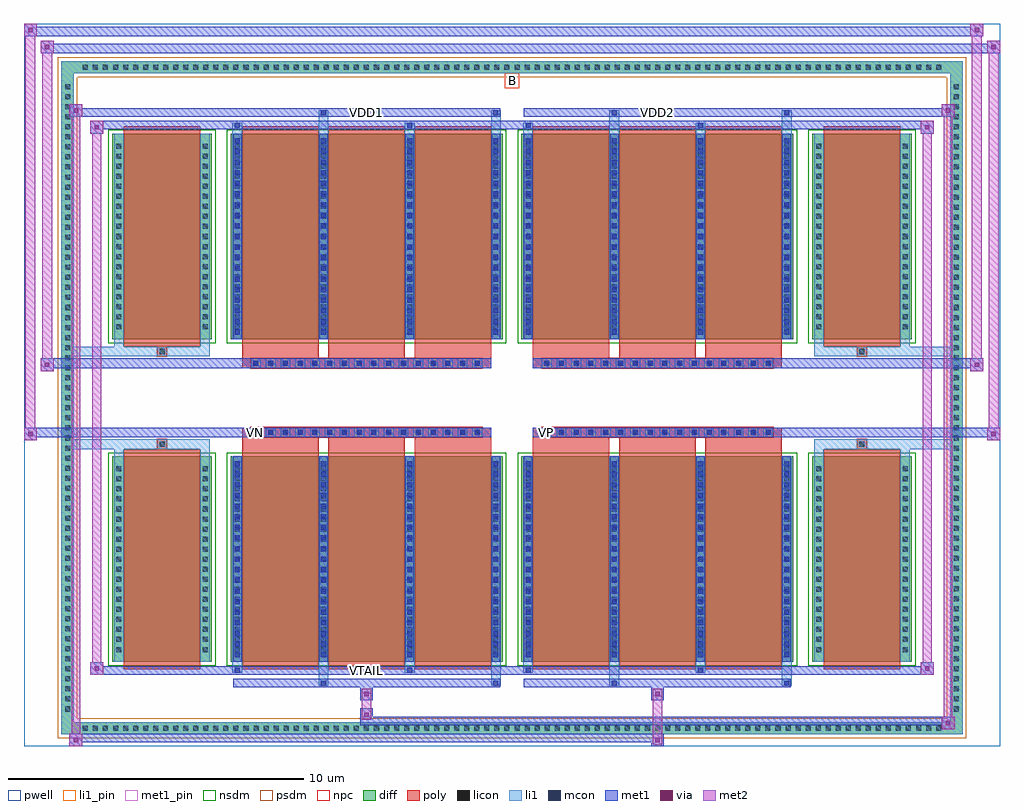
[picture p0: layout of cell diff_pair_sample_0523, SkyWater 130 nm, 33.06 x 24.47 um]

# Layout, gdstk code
import gdstk
lib = gdstk.Library(unit=1e-6, precision=5e-09)
def R(c, l, rs):  # rectangles x0, y0, x1, y1
    for r in rs: c.add(gdstk.rectangle(r[:2], r[2:], *l))
def A(c, l, x, y, w, h, nx, ny, dx, dy):  # array of equal rectangles
    R(c, l, [(x+i*dx, y+j*dy, x+i*dx+w, y+j*dy+h) for i in range(nx) for j in range(ny)])
def P(c, l, *ps):  # polygons
    for p in ps: c.add(gdstk.Polygon(p, *l))
pwell = (64, 44)
diff = (65, 20)
poly = (66, 20)
licon = (66, 44)
li1_pin = (67, 16)
li1 = (67, 20)
mcon = (67, 44)
met1_pin = (68, 16)
met1 = (68, 20)
via = (68, 44)
met2 = (69, 20)
nsdm = (93, 44)
psdm = (94, 20)
npc = (95, 20)

diff_pair_sample_0523 = lib.new_cell('diff_pair_sample_0523')
R(diff_pair_sample_0523, pwell, [(-16.53,-11.8,16.53,12.67), (-13.85,-9.99,-0.01,-0.805), (0.01,-9.99,13.85,-0.805), (-13.85,0.805,-0.01,9.99), (0.01,0.805,13.85,9.99)])
A(diff_pair_sample_0523, diff, -14.655, -11.4, 0.41, 0.41, 86, 2, 0.34, 22.39)
A(diff_pair_sample_0523, diff, -15.26, -10.745, 0.41, 0.41, 1, 63, 0, 0.34)
A(diff_pair_sample_0523, diff, 14.85, -10.745, 0.41, 0.41, 1, 63, 0, 0.34)
R(diff_pair_sample_0523, diff, [(-14.655,-11.4,14.655,-10.99), (-15.26,-10.745,-14.85,10.745), (14.85,-10.745,15.26,10.745), (-13.54,-8.945,-10.17,-1.985), (-9.53,-8.945,-0.32,-1.985), (0.32,-8.945,9.53,-1.985), (10.17,-8.945,13.54,-1.985), (-13.54,1.985,-10.17,8.945), (-9.53,1.985,-0.32,8.945), (0.32,1.985,9.53,8.945), (10.17,1.985,13.54,8.945), (-14.655,10.99,14.655,11.4)])
P(diff_pair_sample_0523, diff, [(15.26,11.4),(-15.26,11.4),(-15.26,-10.99),(-14.85,-10.99),(-14.85,10.99),(14.85,10.99),(14.85,-10.99),(-14.85,-10.99),(-15.26,-10.99),(-15.26,-11.4),(15.26,-11.4)])
A(diff_pair_sample_0523, poly, -9.14, -9.195, 2.59, 7.46, 3, 2, 2.92, 10.93)
A(diff_pair_sample_0523, poly, 0.71, -9.195, 2.59, 7.46, 3, 2, 2.92, 10.93)
A(diff_pair_sample_0523, poly, -9.14, -1.735, 2.59, 0.4, 3, 2, 2.92, 3.07)
A(diff_pair_sample_0523, poly, 0.71, -1.735, 2.59, 0.4, 3, 2, 2.92, 3.07)
A(diff_pair_sample_0523, poly, -8.84, -1.335, 0.33, 0.33, 16, 2, 0.5, 2.34)
A(diff_pair_sample_0523, poly, 1.01, -1.335, 0.33, 0.33, 16, 2, 0.5, 2.34)
R(diff_pair_sample_0523, poly, [(-13.15,-9.195,-10.56,-1.735), (10.56,-9.195,13.15,-1.735), (-12.02,-1.735,-11.69,-1.405), (-12.02,-1.735,-11.69,-1.405), (11.69,-1.735,12.02,-1.405), (11.69,-1.735,12.02,-1.405), (-9.14,-1.335,-0.71,-1.005), (0.71,-1.335,9.14,-1.005), (-9.14,1.005,-0.71,1.335), (0.71,1.005,9.14,1.335), (-12.02,1.405,-11.69,1.735), (-12.02,1.405,-11.69,1.735), (11.69,1.405,12.02,1.735), (11.69,1.405,12.02,1.735), (-13.15,1.735,-10.56,9.195), (10.56,1.735,13.15,9.195)])
A(diff_pair_sample_0523, licon, -14.535, -11.28, 0.17, 0.17, 86, 2, 0.34, 22.39)
A(diff_pair_sample_0523, licon, -15.14, -10.625, 0.17, 0.17, 1, 63, 0, 0.34)
A(diff_pair_sample_0523, licon, 14.97, -10.625, 0.17, 0.17, 1, 63, 0, 0.34)
A(diff_pair_sample_0523, licon, -13.4, -8.61, 0.17, 0.17, 1, 19, 0, 0.34)
A(diff_pair_sample_0523, licon, -10.48, -8.61, 0.17, 0.17, 1, 19, 0, 0.34)
A(diff_pair_sample_0523, licon, -9.39, -8.61, 0.17, 0.17, 4, 19, 2.92, 0.34)
A(diff_pair_sample_0523, licon, 0.46, -8.61, 0.17, 0.17, 4, 19, 2.92, 0.34)
A(diff_pair_sample_0523, licon, 10.31, -8.61, 0.17, 0.17, 1, 19, 0, 0.34)
A(diff_pair_sample_0523, licon, 13.23, -8.61, 0.17, 0.17, 1, 19, 0, 0.34)
A(diff_pair_sample_0523, licon, -8.76, -1.255, 0.17, 0.17, 16, 2, 0.5, 2.34)
A(diff_pair_sample_0523, licon, 1.09, -1.255, 0.17, 0.17, 16, 2, 0.5, 2.34)
A(diff_pair_sample_0523, licon, -13.4, 2.32, 0.17, 0.17, 1, 19, 0, 0.34)
A(diff_pair_sample_0523, licon, -10.48, 2.32, 0.17, 0.17, 1, 19, 0, 0.34)
A(diff_pair_sample_0523, licon, -9.39, 2.32, 0.17, 0.17, 4, 19, 2.92, 0.34)
A(diff_pair_sample_0523, licon, 0.46, 2.32, 0.17, 0.17, 4, 19, 2.92, 0.34)
A(diff_pair_sample_0523, licon, 10.31, 2.32, 0.17, 0.17, 1, 19, 0, 0.34)
A(diff_pair_sample_0523, licon, 13.23, 2.32, 0.17, 0.17, 1, 19, 0, 0.34)
R(diff_pair_sample_0523, licon, [(-11.94,-1.655,-11.77,-1.485), (11.77,-1.655,11.94,-1.485), (-11.94,1.485,-11.77,1.655), (11.77,1.485,11.94,1.655)])
R(diff_pair_sample_0523, li1_pin, [(-0.25,10.49,0.25,10.99)])
A(diff_pair_sample_0523, li1, -14.615, -11.36, 0.33, 0.33, 86, 2, 0.34, 22.39)
A(diff_pair_sample_0523, li1, -15.22, -10.705, 0.33, 0.33, 1, 63, 0, 0.34)
A(diff_pair_sample_0523, li1, 14.89, -10.705, 0.33, 0.33, 1, 63, 0, 0.34)
A(diff_pair_sample_0523, li1, -9.47, -8.945, 0.33, 6.96, 4, 2, 2.92, 10.93)
A(diff_pair_sample_0523, li1, 0.38, -8.945, 0.33, 6.96, 4, 2, 2.92, 10.93)
A(diff_pair_sample_0523, li1, -9.39, -8.79, 0.17, 0.17, 4, 19, 2.92, 0.36)
A(diff_pair_sample_0523, li1, -9.39, -8.79, 0.17, 6.65, 4, 2, 2.92, 10.93)
A(diff_pair_sample_0523, li1, 0.46, -8.79, 0.17, 0.17, 4, 19, 2.92, 0.36)
A(diff_pair_sample_0523, li1, 0.46, -8.79, 0.17, 6.65, 4, 2, 2.92, 10.93)
A(diff_pair_sample_0523, li1, -13.48, -8.69, 0.33, 0.33, 1, 19, 0, 0.34)
A(diff_pair_sample_0523, li1, -10.56, -8.69, 0.33, 0.33, 1, 19, 0, 0.34)
A(diff_pair_sample_0523, li1, -9.47, -8.69, 0.33, 0.33, 4, 19, 2.92, 0.34)
A(diff_pair_sample_0523, li1, 0.38, -8.69, 0.33, 0.33, 4, 19, 2.92, 0.34)
A(diff_pair_sample_0523, li1, 10.23, -8.69, 0.33, 0.33, 1, 19, 0, 0.34)
A(diff_pair_sample_0523, li1, 13.15, -8.69, 0.33, 0.33, 1, 19, 0, 0.34)
A(diff_pair_sample_0523, li1, -8.84, -1.335, 0.33, 0.33, 16, 2, 0.5, 2.34)
A(diff_pair_sample_0523, li1, 1.01, -1.335, 0.33, 0.33, 16, 2, 0.5, 2.34)
A(diff_pair_sample_0523, li1, -9.39, 2.14, 0.17, 0.17, 4, 19, 2.92, 0.36)
A(diff_pair_sample_0523, li1, 0.46, 2.14, 0.17, 0.17, 4, 19, 2.92, 0.36)
A(diff_pair_sample_0523, li1, -13.48, 2.24, 0.33, 0.33, 1, 19, 0, 0.34)
A(diff_pair_sample_0523, li1, -10.56, 2.24, 0.33, 0.33, 1, 19, 0, 0.34)
A(diff_pair_sample_0523, li1, -9.47, 2.24, 0.33, 0.33, 4, 19, 2.92, 0.34)
A(diff_pair_sample_0523, li1, 0.38, 2.24, 0.33, 0.33, 4, 19, 2.92, 0.34)
A(diff_pair_sample_0523, li1, 10.23, 2.24, 0.33, 0.33, 1, 19, 0, 0.34)
A(diff_pair_sample_0523, li1, 13.15, 2.24, 0.33, 0.33, 1, 19, 0, 0.34)
R(diff_pair_sample_0523, li1, [(-15.26,-11.4,-14.85,-10.99), (-15.26,-11.4,-14.85,-10.99), (-14.85,-11.4,14.85,-10.99), (14.85,-11.4,15.26,-10.99), (14.85,-11.4,15.26,-10.99), (-15.26,-10.99,-14.85,10.99), (14.85,-10.99,15.26,10.99), (-6.55,-9.75,-6.22,-8.945), (-6.47,-9.75,-6.3,-9.58), (-0.71,-9.75,-0.38,-8.945), (-0.63,-9.75,-0.46,-9.58), (3.3,-9.75,3.63,-8.945), (3.38,-9.75,3.55,-9.58), (9.14,-9.75,9.47,-8.945), (9.22,-9.75,9.39,-9.58), (-9.47,-9.32,-9.14,-8.945), (-9.39,-9.32,-9.22,-9.15), (-3.63,-9.32,-3.3,-8.945), (-3.55,-9.32,-3.38,-9.15), (0.38,-9.32,0.71,-8.945), (0.46,-9.32,0.63,-9.15), (6.22,-9.32,6.55,-8.945), (6.3,-9.32,6.47,-9.15), (-13.48,-8.945,-13.15,-1.985), (-10.56,-8.945,-10.23,-1.985), (10.23,-8.945,10.56,-1.985), (13.15,-8.945,13.48,-1.985), (-13.48,-1.985,-13.15,-1.405), (-10.56,-1.985,-10.23,-1.405), (10.23,-1.985,10.56,-1.405), (13.15,-1.985,13.48,-1.405), (-15.26,-1.735,-12.02,-1.405), (-13.48,-1.735,-12.02,-1.405), (-12.02,-1.735,-11.69,-1.405), (-11.69,-1.735,-10.23,-1.405), (10.23,-1.735,11.69,-1.405), (11.69,-1.735,12.02,-1.405), (11.69,-1.735,15.26,-1.405), (12.02,-1.735,13.48,-1.405), (-15.26,1.405,-12.02,1.735), (-13.48,1.405,-12.02,1.735), (-13.48,1.405,-13.15,1.985), (-12.02,1.405,-11.69,1.735), (-11.69,1.405,-10.23,1.735), (-10.56,1.405,-10.23,1.985), (10.23,1.405,11.69,1.735), (10.23,1.405,10.56,1.985), (11.69,1.405,12.02,1.735), (11.69,1.405,15.26,1.735), (12.02,1.405,13.48,1.735), (13.15,1.405,13.48,1.985), (-13.48,1.985,-13.15,8.945), (-10.56,1.985,-10.23,8.945), (10.23,1.985,10.56,8.945), (13.15,1.985,13.48,8.945), (-9.47,8.945,-9.14,9.32), (-6.55,8.945,-6.22,9.75), (-3.63,8.945,-3.3,9.32), (-0.71,8.945,-0.38,9.75), (0.38,8.945,0.71,9.32), (3.3,8.945,3.63,9.75), (6.22,8.945,6.55,9.32), (9.14,8.945,9.47,9.75), (-9.39,9.15,-9.22,9.32), (-3.55,9.15,-3.38,9.32), (0.46,9.15,0.63,9.32), (6.3,9.15,6.47,9.32), (-6.47,9.58,-6.3,9.75), (-0.63,9.58,-0.46,9.75), (3.38,9.58,3.55,9.75), (9.22,9.58,9.39,9.75), (-15.26,10.99,-14.85,11.4), (-15.26,10.99,-14.85,11.4), (-14.85,10.99,14.85,11.4), (14.85,10.99,15.26,11.4), (14.85,10.99,15.26,11.4)])
A(diff_pair_sample_0523, mcon, -9.39, -8.79, 0.17, 0.17, 4, 19, 2.92, 0.36)
A(diff_pair_sample_0523, mcon, 0.46, -8.79, 0.17, 0.17, 4, 19, 2.92, 0.36)
A(diff_pair_sample_0523, mcon, -8.76, -1.255, 0.17, 0.17, 16, 2, 0.5, 2.34)
A(diff_pair_sample_0523, mcon, 1.09, -1.255, 0.17, 0.17, 16, 2, 0.5, 2.34)
A(diff_pair_sample_0523, mcon, -9.39, 2.14, 0.17, 0.17, 4, 19, 2.92, 0.36)
A(diff_pair_sample_0523, mcon, 0.46, 2.14, 0.17, 0.17, 4, 19, 2.92, 0.36)
R(diff_pair_sample_0523, mcon, [(-6.47,-9.75,-6.3,-9.58), (-0.63,-9.75,-0.46,-9.58), (3.38,-9.75,3.55,-9.58), (9.22,-9.75,9.39,-9.58), (-9.39,-9.32,-9.22,-9.15), (-3.55,-9.32,-3.38,-9.15), (0.46,-9.32,0.63,-9.15), (6.3,-9.32,6.47,-9.15), (-9.39,9.15,-9.22,9.32), (-3.55,9.15,-3.38,9.32), (0.46,9.15,0.63,9.32), (6.3,9.15,6.47,9.32), (-6.47,9.58,-6.3,9.75), (-0.63,9.58,-0.46,9.75), (3.38,9.58,3.55,9.75), (9.22,9.58,9.39,9.75)])
R(diff_pair_sample_0523, met1_pin, [(-5.06,-9.36,-4.79,-9.09), (-8.81,-1.295,-8.54,-1.025), (1.04,-1.295,1.31,-1.025), (-5.06,9.54,-4.79,9.81), (4.79,9.54,5.06,9.81)])
A(diff_pair_sample_0523, met1, -9.45, -8.945, 0.29, 6.96, 4, 2, 2.92, 10.93)
A(diff_pair_sample_0523, met1, 0.4, -8.945, 0.29, 6.96, 4, 2, 2.92, 10.93)
A(diff_pair_sample_0523, met1, -9.45, -8.85, 0.29, 0.29, 4, 19, 2.92, 0.36)
A(diff_pair_sample_0523, met1, 0.4, -8.85, 0.29, 0.29, 4, 19, 2.92, 0.36)
A(diff_pair_sample_0523, met1, -8.82, -1.315, 0.29, 0.29, 16, 2, 0.5, 2.34)
A(diff_pair_sample_0523, met1, 1.03, -1.315, 0.29, 0.29, 16, 2, 0.5, 2.34)
A(diff_pair_sample_0523, met1, -9.45, 2.08, 0.29, 0.29, 4, 19, 2.92, 0.36)
A(diff_pair_sample_0523, met1, 0.4, 2.08, 0.29, 0.29, 4, 19, 2.92, 0.36)
R(diff_pair_sample_0523, met1, [(-14.99,-11.8,-14.56,-11.37), (4.71,-11.8,5.14,-11.37), (-14.99,-11.66,5.14,-11.37), (14.56,-11.23,14.99,-10.8), (-5.14,-11.09,14.99,-10.8), (-5.14,-10.95,-4.71,-10.52), (-5.14,-10.24,-4.71,-9.81), (4.71,-10.24,5.14,-9.81), (-9.45,-9.81,-0.4,-9.52), (-6.53,-9.81,-6.24,-9.52), (-0.69,-9.81,-0.4,-9.52), (0.4,-9.81,9.45,-9.52), (3.32,-9.81,3.61,-9.52), (9.16,-9.81,9.45,-9.52), (-14.28,-9.38,-13.85,-8.95), (-14.28,-9.38,-9.45,-9.09), (-9.45,-9.38,-9.16,-9.09), (-9.45,-9.38,-0.4,-9.09), (-3.61,-9.38,-3.32,-9.09), (-0.4,-9.38,0.4,-9.09), (0.4,-9.38,0.69,-9.09), (0.4,-9.38,9.45,-9.09), (6.24,-9.38,6.53,-9.09), (9.45,-9.38,14.28,-9.09), (13.85,-9.38,14.28,-8.95), (-16.53,-1.435,-16.1,-1.005), (16.1,-1.435,16.53,-1.005), (-16.53,-1.335,-0.71,-1.005), (-9.14,-1.335,-0.71,-1.005), (0.71,-1.335,9.14,-1.005), (0.71,-1.335,16.53,-1.005), (-15.96,0.905,-15.53,1.335), (15.53,0.905,15.96,1.335), (-15.96,1.005,-9.14,1.335), (-9.14,1.005,-0.71,1.335), (0.71,1.005,9.14,1.335), (9.14,1.005,15.96,1.335), (-14.28,8.95,-13.85,9.38), (13.85,8.95,14.28,9.38), (-14.28,9.09,-9.45,9.38), (-9.45,9.09,-9.16,9.38), (-9.45,9.09,-0.4,9.38), (-3.61,9.09,-3.32,9.38), (-0.4,9.09,0.4,9.38), (0.4,9.09,0.69,9.38), (0.4,9.09,9.45,9.38), (6.24,9.09,6.53,9.38), (9.45,9.09,14.28,9.38), (-14.99,9.52,-14.56,9.95), (-14.99,9.52,-9.45,9.81), (-9.45,9.52,-0.4,9.81), (-6.53,9.52,-6.24,9.81), (-0.69,9.52,-0.4,9.81), (0.4,9.52,9.45,9.81), (3.32,9.52,3.61,9.81), (9.16,9.52,9.45,9.81), (9.45,9.52,14.99,9.81), (14.56,9.52,14.99,9.95), (-15.96,11.67,-15.53,12.1), (-15.96,11.67,-13.85,12), (-13.85,11.67,13.85,12), (13.85,11.67,16.53,12), (16.1,11.67,16.53,12.1), (-16.53,12.24,-16.1,12.67), (-16.53,12.24,-13.85,12.57), (-13.85,12.24,13.85,12.57), (13.85,12.24,15.96,12.57), (15.53,12.24,15.96,12.67)])
R(diff_pair_sample_0523, via, [(-14.85,-11.66,-14.7,-11.51), (4.85,-11.66,5,-11.51), (14.7,-11.09,14.85,-10.94), (-5,-10.81,-4.85,-10.66), (-5,-10.1,-4.85,-9.95), (4.85,-10.1,5,-9.95), (-14.14,-9.24,-13.99,-9.09), (13.99,-9.24,14.14,-9.09), (-16.39,-1.295,-16.24,-1.145), (16.24,-1.295,16.39,-1.145), (-15.82,1.045,-15.67,1.195), (15.67,1.045,15.82,1.195), (-14.14,9.09,-13.99,9.24), (13.99,9.09,14.14,9.24), (-14.85,9.66,-14.7,9.81), (14.7,9.66,14.85,9.81), (-15.82,11.81,-15.67,11.96), (16.24,11.81,16.39,11.96), (-16.39,12.38,-16.24,12.53), (15.67,12.38,15.82,12.53)])
R(diff_pair_sample_0523, met2, [(-14.99,-11.8,-14.56,-11.37), (-14.92,-11.8,-14.63,9.95), (-14.63,-11.8,-14.56,-11.37), (-14.94,-11.75,-14.61,-11.42), (4.76,-11.75,5.09,-11.42), (4.76,-11.42,5.09,-10.19), (14.56,-11.23,14.99,-10.8), (14.63,-11.23,14.92,9.95), (14.92,-11.23,14.99,-10.8), (14.61,-11.18,14.94,-10.85), (-5.09,-10.9,-4.76,-10.57), (-5.09,-10.57,-4.76,-10.19), (-5.09,-10.19,-4.76,-9.86), (4.76,-10.19,5.09,-9.86), (-14.28,-9.38,-13.85,-8.95), (-14.21,-9.38,-13.92,9.38), (-13.92,-9.38,-13.85,-8.95), (13.85,-9.38,14.28,-8.95), (13.92,-9.38,14.21,9.38), (14.21,-9.38,14.28,-8.95), (-14.23,-9.33,-13.9,-9), (13.9,-9.33,14.23,-9), (-16.53,-1.435,-16.1,-1.005), (-16.48,-1.435,-16.15,12.67), (-16.15,-1.435,-16.1,-1.005), (16.1,-1.435,16.53,-1.005), (16.15,-1.435,16.48,12.1), (16.48,-1.435,16.53,-1.005), (-16.48,-1.385,-16.15,-1.055), (16.15,-1.385,16.48,-1.055), (-15.96,0.905,-15.53,1.335), (-15.91,0.905,-15.58,12.1), (-15.58,0.905,-15.53,1.335), (15.53,0.905,15.96,1.335), (15.58,0.905,15.91,12.67), (15.91,0.905,15.96,1.335), (-15.91,0.955,-15.58,1.285), (15.58,0.955,15.91,1.285), (-14.28,8.95,-13.85,9.38), (-13.92,8.95,-13.85,9.38), (13.85,8.95,14.28,9.38), (14.21,8.95,14.28,9.38), (-14.23,9,-13.9,9.33), (13.9,9,14.23,9.33), (-14.99,9.52,-14.56,9.95), (-14.63,9.52,-14.56,9.95), (14.56,9.52,14.99,9.95), (14.92,9.52,14.99,9.95), (-14.94,9.57,-14.61,9.9), (14.61,9.57,14.94,9.9), (-15.96,11.67,-15.53,12.1), (-15.58,11.67,-15.53,12.1), (16.1,11.67,16.53,12.1), (16.48,11.67,16.53,12.1), (-15.91,11.72,-15.58,12.05), (16.15,11.72,16.48,12.05), (-16.53,12.24,-16.1,12.67), (-16.15,12.24,-16.1,12.67), (15.53,12.24,15.96,12.67), (15.91,12.24,15.96,12.67), (-16.48,12.29,-16.15,12.62), (15.58,12.29,15.91,12.62)])
R(diff_pair_sample_0523, nsdm, [(-13.67,-9.075,-10.04,-1.855), (-9.66,-9.075,-0.19,-1.855), (0.19,-9.075,9.66,-1.855), (10.04,-9.075,13.67,-1.855), (-13.67,1.855,-10.04,9.075), (-9.66,1.855,-0.19,9.075), (0.19,1.855,9.66,9.075), (10.04,1.855,13.67,9.075)])
P(diff_pair_sample_0523, psdm, [(15.39,11.53),(-15.39,11.53),(-15.39,-10.86),(-14.72,-10.86),(-14.72,10.86),(14.72,10.86),(14.72,-10.86),(-14.72,-10.86),(-15.39,-10.86),(-15.39,-11.53),(15.39,-11.53)])
A(diff_pair_sample_0523, npc, -8.86, -1.355, 0.37, 0.37, 16, 2, 0.5, 2.34)
A(diff_pair_sample_0523, npc, 0.99, -1.355, 0.37, 0.37, 16, 2, 0.5, 2.34)
R(diff_pair_sample_0523, npc, [(-12.04,-1.755,-11.67,-1.385), (11.67,-1.755,12.04,-1.385), (-8.86,-1.355,-7.99,-0.985), (-8.86,-1.355,-7.99,-0.985), (-8.36,-1.355,-7.49,-0.985), (-8.36,-1.355,-7.49,-0.985), (-7.86,-1.355,-6.99,-0.985), (-7.86,-1.355,-6.99,-0.985), (-7.36,-1.355,-6.49,-0.985), (-7.36,-1.355,-6.49,-0.985), (-6.86,-1.355,-5.99,-0.985), (-6.86,-1.355,-5.99,-0.985), (-6.36,-1.355,-5.49,-0.985), (-6.36,-1.355,-5.49,-0.985), (-5.86,-1.355,-4.99,-0.985), (-5.86,-1.355,-4.99,-0.985), (-5.36,-1.355,-4.49,-0.985), (-5.36,-1.355,-4.49,-0.985), (-4.86,-1.355,-3.99,-0.985), (-4.86,-1.355,-3.99,-0.985), (-4.36,-1.355,-3.49,-0.985), (-4.36,-1.355,-3.49,-0.985), (-3.86,-1.355,-2.99,-0.985), (-3.86,-1.355,-2.99,-0.985), (-3.36,-1.355,-2.49,-0.985), (-3.36,-1.355,-2.49,-0.985), (-2.86,-1.355,-1.99,-0.985), (-2.86,-1.355,-1.99,-0.985), (-2.36,-1.355,-1.49,-0.985), (-2.36,-1.355,-1.49,-0.985), (-1.86,-1.355,-0.99,-0.985), (-1.86,-1.355,-0.99,-0.985), (0.99,-1.355,1.86,-0.985), (0.99,-1.355,1.86,-0.985), (1.49,-1.355,2.36,-0.985), (1.49,-1.355,2.36,-0.985), (1.99,-1.355,2.86,-0.985), (1.99,-1.355,2.86,-0.985), (2.49,-1.355,3.36,-0.985), (2.49,-1.355,3.36,-0.985), (2.99,-1.355,3.86,-0.985), (2.99,-1.355,3.86,-0.985), (3.49,-1.355,4.36,-0.985), (3.49,-1.355,4.36,-0.985), (3.99,-1.355,4.86,-0.985), (3.99,-1.355,4.86,-0.985), (4.49,-1.355,5.36,-0.985), (4.49,-1.355,5.36,-0.985), (4.99,-1.355,5.86,-0.985), (4.99,-1.355,5.86,-0.985), (5.49,-1.355,6.36,-0.985), (5.49,-1.355,6.36,-0.985), (5.99,-1.355,6.86,-0.985), (5.99,-1.355,6.86,-0.985), (6.49,-1.355,7.36,-0.985), (6.49,-1.355,7.36,-0.985), (6.99,-1.355,7.86,-0.985), (6.99,-1.355,7.86,-0.985), (7.49,-1.355,8.36,-0.985), (7.49,-1.355,8.36,-0.985), (7.99,-1.355,8.86,-0.985), (7.99,-1.355,8.86,-0.985), (-8.86,0.985,-7.99,1.355), (-8.86,0.985,-7.99,1.355), (-8.36,0.985,-7.49,1.355), (-8.36,0.985,-7.49,1.355), (-7.86,0.985,-6.99,1.355), (-7.86,0.985,-6.99,1.355), (-7.36,0.985,-6.49,1.355), (-7.36,0.985,-6.49,1.355), (-6.86,0.985,-5.99,1.355), (-6.86,0.985,-5.99,1.355), (-6.36,0.985,-5.49,1.355), (-6.36,0.985,-5.49,1.355), (-5.86,0.985,-4.99,1.355), (-5.86,0.985,-4.99,1.355), (-5.36,0.985,-4.49,1.355), (-5.36,0.985,-4.49,1.355), (-4.86,0.985,-3.99,1.355), (-4.86,0.985,-3.99,1.355), (-4.36,0.985,-3.49,1.355), (-4.36,0.985,-3.49,1.355), (-3.86,0.985,-2.99,1.355), (-3.86,0.985,-2.99,1.355), (-3.36,0.985,-2.49,1.355), (-3.36,0.985,-2.49,1.355), (-2.86,0.985,-1.99,1.355), (-2.86,0.985,-1.99,1.355), (-2.36,0.985,-1.49,1.355), (-2.36,0.985,-1.49,1.355), (-1.86,0.985,-0.99,1.355), (-1.86,0.985,-0.99,1.355), (0.99,0.985,1.86,1.355), (0.99,0.985,1.86,1.355), (1.49,0.985,2.36,1.355), (1.49,0.985,2.36,1.355), (1.99,0.985,2.86,1.355), (1.99,0.985,2.86,1.355), (2.49,0.985,3.36,1.355), (2.49,0.985,3.36,1.355), (2.99,0.985,3.86,1.355), (2.99,0.985,3.86,1.355), (3.49,0.985,4.36,1.355), (3.49,0.985,4.36,1.355), (3.99,0.985,4.86,1.355), (3.99,0.985,4.86,1.355), (4.49,0.985,5.36,1.355), (4.49,0.985,5.36,1.355), (4.99,0.985,5.86,1.355), (4.99,0.985,5.86,1.355), (5.49,0.985,6.36,1.355), (5.49,0.985,6.36,1.355), (5.99,0.985,6.86,1.355), (5.99,0.985,6.86,1.355), (6.49,0.985,7.36,1.355), (6.49,0.985,7.36,1.355), (6.99,0.985,7.86,1.355), (6.99,0.985,7.86,1.355), (7.49,0.985,8.36,1.355), (7.49,0.985,8.36,1.355), (7.99,0.985,8.86,1.355), (7.99,0.985,8.86,1.355), (-12.04,1.385,-11.67,1.755), (11.67,1.385,12.04,1.755)])
diff_pair_sample_0523.add(gdstk.Label('VTAIL', (-4.925,-9.225), layer=68, texttype=5))
diff_pair_sample_0523.add(gdstk.Label('VN', (-8.675,-1.16), layer=68, texttype=5))
diff_pair_sample_0523.add(gdstk.Label('VP', (1.175,-1.16), layer=68, texttype=5))
diff_pair_sample_0523.add(gdstk.Label('B', (0,10.74), layer=67, texttype=5))
diff_pair_sample_0523.add(gdstk.Label('VDD2', (4.925,9.675), layer=68, texttype=5))
diff_pair_sample_0523.add(gdstk.Label('VDD1', (-4.925,9.675), layer=68, texttype=5))

lib.write_gds('diff_pair_sample_0523.gds')
